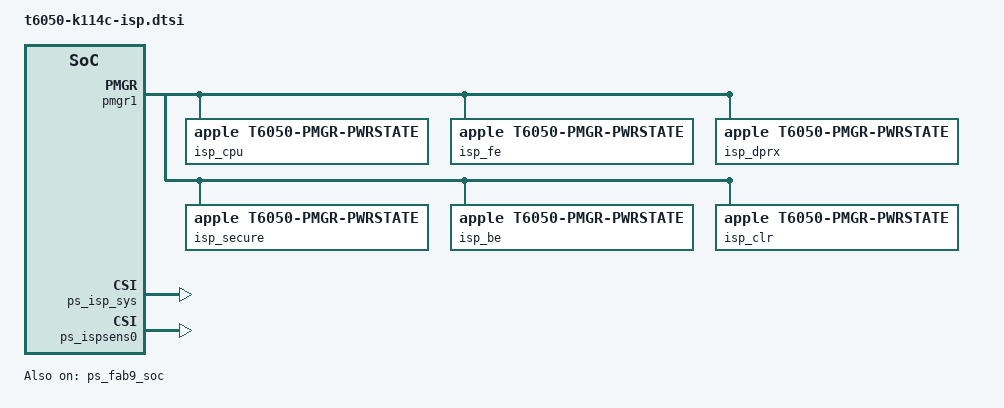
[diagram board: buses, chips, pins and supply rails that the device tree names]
// SPDX-License-Identifier: GPL-2.0+ OR MIT
/*
 * K114c camera, draft. ADT isp0/dart-isp0 match J716c/J714c except sensor-type
 * (0xb9 here). The loader (aura) reserves the firmware text/data and the main
 * memory from the ADT isp0 segment-ranges at boot (alias "isp").
 * Firmware segments (macOS ioreg, MEASURED): text 0x100011f4000 size 0xc1c000,
 * data 0x1000292c000 size 0x13d0000, the J716c sizes. UNMEASURED: presets, light.
 */
/ {
	aliases {
		isp = &isp0;
		isp-dart0 = &isp0_dart;
		isp-dart1 = &isp0_dart1;
		isp-dart2 = &isp0_dart2;
	};
};

&isp0 {
	/delete-property/ clocks;
	compatible = "apple,t6050-isp", "apple,isp";
	reg = <0x5 0x80000000 0 0x1604000>,
	      <0x5 0x82924000 0 0x40>,
	      <0x5 0x829241d0 0 0x20>,
	      <0x5 0x82924464 0 0x10>,
	      <0x5 0xc3b50000 0 0x8000>;
	reg-names = "coproc", "mbox", "gpio", "mbox2", "wdt";
	interrupts = <AIC_IRQ 0 513 IRQ_TYPE_LEVEL_HIGH>;
	iommus = <&isp0_dart 0>, <&isp0_dart 12>,
		 <&isp0_dart1 0>, <&isp0_dart1 12>,
		 <&isp0_dart2 0>, <&isp0_dart2 12>;
	power-domains = <&ps_isp_sys>, <&ps_isp_cpu>, <&ps_isp_fe>,
			<&ps_isp_dprx>, <&ps_isp_secure>, <&ps_isp_be>,
			<&ps_isp_clr>, <&ps_ispsens0>;
	apple,dart-vm-size = /bits/ 64 <0xde600000>;
	apple,platform-id = <0xb9>;
	apple,temporal-filter = <1>;
	apple,cam-connections-scheme = <0x10>;
	/*
	 * The K114c ADT (macOS ioreg) has no camera-light GPIO: eic cil 1, mil 1,
	 * no cil-gpio-offset/config (the J714c has pin 141). Linux does not drive
	 * the light here. What lights it is UNMEASURED: watch the LED at the first
	 * stream.
	 */
	apple,no-light-gpio;
	status = "disabled";
	sensor-presets {
		/* J714c IMX958 presets (omacom/linux-aurora#422); UNMEASURED on K114c. */
		preset0 {
			apple,config-index = <6>;
			apple,input-size = <3040 2880>;
			apple,output-size = <1920 1080>;
			apple,crop = <320 765 2400 1350>;
		};
		preset1 {
			apple,config-index = <7>;
			apple,input-size = <3040 2880>;
			apple,output-size = <1280 720>;
			apple,crop = <320 765 2400 1350>;
		};
		preset2 {
			apple,config-index = <6>;
			apple,input-size = <3040 2880>;
			apple,output-size = <2560 1440>;
			apple,crop = <240 720 2560 1440>;
		};
	};
};

&isp0_dart {
	compatible = "apple,t6050-isp-dart", "apple,t8110-dart";
	reg = <0x5 0x828c0000 0 0xc000>, <0x5 0x828d0000 0 0x4000>;
	reg-names = "dart", "dapf";
	#iommu-cells = <1>;
	interrupts = <AIC_IRQ 0 531 IRQ_TYPE_LEVEL_HIGH>;
	power-domains = <&ps_isp_sys>;
	apple,remap-streams = <1 0>, <6 0>, <7 0>, <10 0>, <11 0>;
	status = "disabled";
};

&isp0_dart1 {
	compatible = "apple,t6050-isp-dart", "apple,t8110-dart";
	reg = <0x5 0x828e0000 0 0xc000>;
	reg-names = "dart";
	#iommu-cells = <1>;
	interrupts = <AIC_IRQ 0 531 IRQ_TYPE_LEVEL_HIGH>;
	power-domains = <&ps_isp_sys>;
	apple,remap-streams = <1 0>, <6 0>, <7 0>, <10 0>, <11 0>;
	status = "disabled";
};

&isp0_dart2 {
	compatible = "apple,t6050-isp-dart", "apple,t8110-dart";
	reg = <0x5 0x82900000 0 0xc000>;
	reg-names = "dart";
	#iommu-cells = <1>;
	interrupts = <AIC_IRQ 0 531 IRQ_TYPE_LEVEL_HIGH>;
	power-domains = <&ps_isp_sys>;
	apple,remap-streams = <1 0>, <6 0>, <7 0>, <10 0>, <11 0>;
	status = "disabled";
};

&pmgr1 {
	ps_isp_cpu: power-controller@3b0 {
		compatible = "apple,t6050-pmgr-pwrstate", "apple,t8103-pmgr-pwrstate";
		reg = <0x3b0 4>;
		#power-domain-cells = <0>;
		#reset-cells = <0>;
		label = "isp_cpu";
		apple,no-auto-pm;
		power-domains = <&ps_isp_sys>;
	};
	ps_isp_fe: power-controller@3b8 {
		compatible = "apple,t6050-pmgr-pwrstate", "apple,t8103-pmgr-pwrstate";
		reg = <0x3b8 4>;
		#power-domain-cells = <0>;
		#reset-cells = <0>;
		label = "isp_fe";
		apple,no-auto-pm;
		power-domains = <&ps_isp_sys>;
	};
	ps_isp_dprx: power-controller@3d8 {
		compatible = "apple,t6050-pmgr-pwrstate", "apple,t8103-pmgr-pwrstate";
		reg = <0x3d8 4>;
		#power-domain-cells = <0>;
		#reset-cells = <0>;
		label = "isp_dprx";
		apple,no-auto-pm;
		power-domains = <&ps_isp_sys>;
	};
	ps_isp_secure: power-controller@3e0 {
		compatible = "apple,t6050-pmgr-pwrstate", "apple,t8103-pmgr-pwrstate";
		reg = <0x3e0 4>;
		#power-domain-cells = <0>;
		#reset-cells = <0>;
		label = "isp_secure";
		apple,no-auto-pm;
		power-domains = <&ps_isp_sys>;
	};
	ps_isp_be: power-controller@3e8 {
		compatible = "apple,t6050-pmgr-pwrstate", "apple,t8103-pmgr-pwrstate";
		reg = <0x3e8 4>;
		#power-domain-cells = <0>;
		#reset-cells = <0>;
		label = "isp_be";
		apple,no-auto-pm;
		power-domains = <&ps_isp_sys>;
	};
	ps_isp_clr: power-controller@3f0 {
		compatible = "apple,t6050-pmgr-pwrstate", "apple,t8103-pmgr-pwrstate";
		reg = <0x3f0 4>;
		#power-domain-cells = <0>;
		#reset-cells = <0>;
		label = "isp_clr";
		apple,no-auto-pm;
		power-domains = <&ps_isp_sys>;
	};
};

&ps_fab9_soc {
	/delete-property/ power-domains;
	apple,no-auto-pm;
	apple,firmware-owned;
	status = "okay";
};

&ps_isp_sys {
	apple,no-auto-pm;
	apple,always-on;
	status = "okay";
};

&ps_ispsens0 {
	apple,no-auto-pm;
	status = "okay";
};
